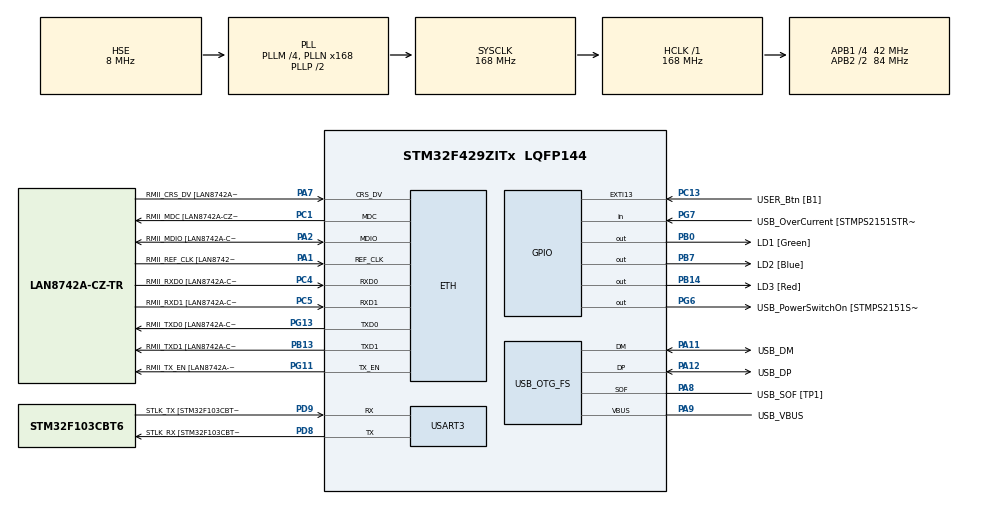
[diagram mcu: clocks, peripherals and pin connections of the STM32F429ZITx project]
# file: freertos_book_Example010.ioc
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ETH.MediaInterface=HAL_ETH_RMII_MODE
ETH.PHY_Name=LAN8742A_PHY_ADDRESS
ETH.PHY_Value=0
ETH.PhyAddress=0
FREERTOS.MEMORY_ALLOCATION=0
FREERTOS.Tasks01=defaultTask,0,128,StartDefaultTask,Default,NULL,Dynamic,NULL,NULL
FREERTOS.configUSE_NEWLIB_REENTRANT=1
Mcu.Family=STM32F4
Mcu.Name=STM32F429ZITx
Mcu.Package=LQFP144
NVIC.PriorityGroup=NVIC_PRIORITYGROUP_4
NVIC.TIM7_IRQn=true\:15\:0\:false\:false\:true\:false\:false\:true\:true
NVIC.TimeBase=TIM7_IRQn
NVIC.TimeBaseIP=TIM7
PA1.GPIO_Label=RMII_REF_CLK [LAN8742A-CZ-TR_REFCLK0]
PA1.Mode=RMII
PA1.Signal=ETH_REF_CLK
PA10.GPIO_Label=USB_ID
PA10.Signal=USB_OTG_FS_ID
PA11.GPIO_Label=USB_DM
PA11.Mode=Device_Only
PA11.Signal=USB_OTG_FS_DM
PA12.GPIO_Label=USB_DP
PA12.Mode=Device_Only
PA12.Signal=USB_OTG_FS_DP
PA13.GPIO_Label=TMS
PA13.Mode=Serial_Wire
PA13.Signal=SYS_JTMS-SWDIO
PA14.GPIO_Label=TCK
PA14.Mode=Serial_Wire
PA14.Signal=SYS_JTCK-SWCLK
PA2.GPIO_Label=RMII_MDIO [LAN8742A-CZ-TR_MDIO]
PA2.Mode=RMII
PA2.Signal=ETH_MDIO
PA7.GPIO_Label=RMII_CRS_DV [LAN8742A-CZ-TR_CRS_DV]
PA7.Mode=RMII
PA7.Signal=ETH_CRS_DV
PA8.GPIO_Label=USB_SOF [TP1]
PA8.Mode=Activate_SOF_FS
PA8.Signal=USB_OTG_FS_SOF
PA9.GPIO_Label=USB_VBUS
PA9.Mode=Activate_VBUS
PA9.Signal=USB_OTG_FS_VBUS
PB0.GPIO_Label=LD1 [Green]
PB0.Signal=GPIO_Output
PB13.GPIO_Label=RMII_TXD1 [LAN8742A-CZ-TR_TXD1]
PB13.Mode=RMII
PB13.Signal=ETH_TXD1
PB14.GPIO_Label=LD3 [Red]
PB14.Signal=GPIO_Output
PB7.GPIO_Label=LD2 [Blue]
PB7.Signal=GPIO_Output
PC1.GPIO_Label=RMII_MDC [LAN8742A-CZ-TR_MDC]
PC1.Mode=RMII
PC1.Signal=ETH_MDC
PC13.GPIO_Label=USER_Btn [B1]
PC13.Signal=GPXTI13
PC14/OSC32_IN.Mode=LSE-External-Oscillator
PC14/OSC32_IN.Signal=RCC_OSC32_IN
PC15/OSC32_OUT.Mode=LSE-External-Oscillator
PC15/OSC32_OUT.Signal=RCC_OSC32_OUT
PC4.GPIO_Label=RMII_RXD0 [LAN8742A-CZ-TR_RXD0]
PC4.Mode=RMII
PC4.Signal=ETH_RXD0
PC5.GPIO_Label=RMII_RXD1 [LAN8742A-CZ-TR_RXD1]
PC5.Mode=RMII
PC5.Signal=ETH_RXD1
PD8.GPIO_Label=STLK_RX [STM32F103CBT6_PA3]
PD8.Mode=Asynchronous
PD8.Signal=USART3_TX
PD9.GPIO_Label=STLK_TX [STM32F103CBT6_PA2]
PD9.Mode=Asynchronous
PD9.Signal=USART3_RX
PG11.GPIO_Label=RMII_TX_EN [LAN8742A-CZ-TR_TXEN]
PG11.Mode=RMII
PG11.Signal=ETH_TX_EN
PG13.GPIO_Label=RMII_TXD0 [LAN8742A-CZ-TR_TXD0]
PG13.Mode=RMII
PG13.Signal=ETH_TXD0
PG6.GPIO_Label=USB_PowerSwitchOn [STMPS2151STR_EN]
PG6.Signal=GPIO_Output
PG7.GPIO_Label=USB_OverCurrent [STMPS2151STR_FAULT]
PG7.Signal=GPIO_Input
PH0/OSC_IN.GPIO_Label=MCO [STM32F103CBT6_PA8]
PH0/OSC_IN.Mode=HSE-External-Clock-Source
PH0/OSC_IN.Signal=RCC_OSC_IN
PH1/OSC_OUT.Mode=HSE-External-Clock-Source
PH1/OSC_OUT.Signal=RCC_OSC_OUT
ProjectManager.HeapSize=0x200
ProjectManager.StackSize=0x400
ProjectManager.TargetToolchain=STM32CubeIDE
RCC.48MHZClocksFreq_Value=48000000
RCC.AHBFreq_Value=168000000
RCC.APB1CLKDivider=RCC_HCLK_DIV4
RCC.APB1Freq_Value=42000000
RCC.APB1TimFreq_Value=84000000
RCC.APB2CLKDivider=RCC_HCLK_DIV2
RCC.APB2Freq_Value=84000000
RCC.APB2TimCLKDivider=2
RCC.APB2TimFreq_Value=168000000
RCC.CortexFreq_Value=168000000
RCC.HCLKFreq_Value=168000000
RCC.HSE_VALUE=8000000
RCC.HSI_VALUE=16000000
RCC.PLLM=4
RCC.PLLMUL=RCC_PLL_MUL9
RCC.PLLN=168
RCC.PLLQ=7
RCC.PRESCALERUSB=RCC_USBCLKSOURCE_PLL_DIV1_5
RCC.SYSCLKFreq_VALUE=168000000
RCC.SYSCLKSource=RCC_SYSCLKSOURCE_PLLCLK
RCC.SYSCLKSourceVirtual=RCC_SYSCLKSOURCE_PLLCLK
RCC.USBFreq_Value=48000000
RCC.VCOOutputFreq_Value=336000000
USART3.VirtualMode=VM_ASYNC
USB_OTG_FS.VirtualMode=Device_Only
VP_FREERTOS_VS_CMSIS_V1.Mode=CMSIS_V1
VP_SYS_VS_tim7.Mode=TIM7
board=NUCLEO-F429ZI

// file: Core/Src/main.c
/* USER CODE BEGIN Header */
/**
  ******************************************************************************
  * @file           : main.c
  * @brief          : Main program body
  ******************************************************************************
  * @attention
  *
  * Copyright (c) 2022 STMicroelectronics.
  * All rights reserved.
  *
  * This software is licensed under terms that can be found in the LICENSE file
  * in the root directory of this software component.
  * If no LICENSE file comes with this software, it is provided AS-IS.
  *
  ******************************************************************************
  */
/* USER CODE END Header */
#include "main.h"
#include "string.h"
#include "cmsis_os.h"

/* USER CODE BEGIN Includes */
/* Standard includes. */
#include <stdio.h>
#include <stdlib.h>

/* Demo includes. */
#include "supportingFunctions.h"

/* USER CODE END Includes */

ETH_TxPacketConfig TxConfig;
ETH_DMADescTypeDef  DMARxDscrTab[ETH_RX_DESC_CNT]; /* Ethernet Rx DMA Descriptors */
ETH_DMADescTypeDef  DMATxDscrTab[ETH_TX_DESC_CNT]; /* Ethernet Tx DMA Descriptors */

ETH_HandleTypeDef heth;

UART_HandleTypeDef huart3;

PCD_HandleTypeDef hpcd_USB_OTG_FS;

osThreadId defaultTaskHandle;
/* USER CODE BEGIN PV */
QueueHandle_t QueueHandle;

/* USER CODE END PV */

void SystemClock_Config(void);
static void MX_GPIO_Init(void);
static void MX_ETH_Init(void);
static void MX_USART3_UART_Init(void);
static void MX_USB_OTG_FS_PCD_Init(void);
void StartDefaultTask(void const * argument);

/* USER CODE BEGIN PFP */
void vSenderTask(void *pvParameters);
void vReceiverTask(void *pvParameters);

/* USER CODE END PFP */

int main(void)
{
  /* USER CODE BEGIN 1 */
	const char *pcTextForMain = "freertos_book_Example010 is running: Blocking when receiving from a queue\r\n\n";

  /* USER CODE END 1 */

  /* MCU Configuration--------------------------------------------------------*/

  /* Reset of all peripherals, Initializes the Flash interface and the Systick. */
  HAL_Init();

  /* Configure the system clock */
  SystemClock_Config();

  /* Initialize all configured peripherals */
  MX_GPIO_Init();
  MX_ETH_Init();
  MX_USART3_UART_Init();
  MX_USB_OTG_FS_PCD_Init();
  /* USER CODE BEGIN 2 */
	/* Print out the name of this Example. */
	vPrintString( pcTextForMain );

  /* USER CODE END 2 */

  /* USER CODE BEGIN RTOS_QUEUES */
  /* add queues, ... */
    /* The queue is created to hold a maximum of 5 long values. */
    QueueHandle = xQueueCreate( 5, sizeof( int32_t ) );

    /* Check the queues was created successfully */
    configASSERT( QueueHandle != NULL );

  /* USER CODE END RTOS_QUEUES */

  /* Create the thread(s) */
  /* definition and creation of defaultTask */
  osThreadDef(defaultTask, StartDefaultTask, osPriorityNormal, 0, 128);
  defaultTaskHandle = osThreadCreate(osThread(defaultTask), NULL);

  /* USER CODE BEGIN RTOS_THREADS */
  /* add threads, ... */
	BaseType_t ret;

	/* Sender 1 thread at priority 1 */
	ret = xTaskCreate( vSenderTask,					/* Pointer to the function thats implement the task. */
					   "Sender 1",					/* Text name for the task. This is to facilitate debugging only. */
					   (4 * configMINIMAL_STACK_SIZE),	/* Stack depth in words. 				*/
					   ( void * ) 100,				/* Pass the value to be used in as the task parameter.	*/
					   (tskIDLE_PRIORITY + 1UL),	/* This task will run at priority 1. 		*/
		               NULL );          	        /* We are not using the task handle. */

	/* Check the task was created successfully. */
	configASSERT( ret == pdPASS );

	/* Sender 2 thread at priority 1 */
	ret = xTaskCreate( vSenderTask,					/* Pointer to the function thats implement the task. */
					   "Sender 2",					/* Text name for the task. This is to facilitate debugging only. */
					   (4 * configMINIMAL_STACK_SIZE),	/* Stack depth in words. 				*/
					   ( void * ) 200,				/* Pass the value to be used in as the task parameter.	*/
					   (tskIDLE_PRIORITY + 1UL),	/* This task will run at priority 1. 		*/
		               NULL );          	        /* We are not using the task handle. */

	/* Check the task was created successfully. */
	configASSERT( ret == pdPASS );

	/* Receiver thread at priority 2 */
	ret = xTaskCreate( vReceiverTask,				/* Pointer to the function thats implement the task. */
					   "Receiver",					/* Text name for the task. This is to facilitate debugging only. */
					   (4 * configMINIMAL_STACK_SIZE),	/* Stack depth in words. 				*/
					   NULL,						/* We are not using the task parameter.		*/
					   (tskIDLE_PRIORITY + 2UL),	/* This task will run at priority 2. 		*/
		               NULL );          	        /* We are not using the task handle. */

	/* Check the task was created successfully. */
	configASSERT( ret == pdPASS );

  /* USER CODE END RTOS_THREADS */

  /* Start scheduler */
  osKernelStart();

  /* We should never get here as control is now taken by the scheduler */
  /* Infinite loop */
  while (1)
  {

  }
}

void SystemClock_Config(void)
{
  RCC_OscInitTypeDef RCC_OscInitStruct = {0};
  RCC_ClkInitTypeDef RCC_ClkInitStruct = {0};

  /** Configure the main internal regulator output voltage
  */
  __HAL_RCC_PWR_CLK_ENABLE();
  __HAL_PWR_VOLTAGESCALING_CONFIG(PWR_REGULATOR_VOLTAGE_SCALE1);

  /** Initializes the RCC Oscillators according to the specified parameters
  * in the RCC_OscInitTypeDef structure.
  */
  RCC_OscInitStruct.OscillatorType = RCC_OSCILLATORTYPE_HSE;
  RCC_OscInitStruct.HSEState = RCC_HSE_BYPASS;
  RCC_OscInitStruct.PLL.PLLState = RCC_PLL_ON;
  RCC_OscInitStruct.PLL.PLLSource = RCC_PLLSOURCE_HSE;
  RCC_OscInitStruct.PLL.PLLM = 4;
  RCC_OscInitStruct.PLL.PLLN = 168;
  RCC_OscInitStruct.PLL.PLLP = RCC_PLLP_DIV2;
  RCC_OscInitStruct.PLL.PLLQ = 7;
  if (HAL_RCC_OscConfig(&RCC_OscInitStruct) != HAL_OK)
  {
    Error_Handler();
  }

  /** Initializes the CPU, AHB and APB buses clocks
  */
  RCC_ClkInitStruct.ClockType = RCC_CLOCKTYPE_HCLK|RCC_CLOCKTYPE_SYSCLK
                              |RCC_CLOCKTYPE_PCLK1|RCC_CLOCKTYPE_PCLK2;
  RCC_ClkInitStruct.SYSCLKSource = RCC_SYSCLKSOURCE_PLLCLK;
  RCC_ClkInitStruct.AHBCLKDivider = RCC_SYSCLK_DIV1;
  RCC_ClkInitStruct.APB1CLKDivider = RCC_HCLK_DIV4;
  RCC_ClkInitStruct.APB2CLKDivider = RCC_HCLK_DIV2;

  if (HAL_RCC_ClockConfig(&RCC_ClkInitStruct, FLASH_LATENCY_5) != HAL_OK)
  {
    Error_Handler();
  }
}

static void MX_ETH_Init(void)
{

   static uint8_t MACAddr[6];

  heth.Instance = ETH;
  MACAddr[0] = 0x00;
  MACAddr[1] = 0x80;
  MACAddr[2] = 0xE1;
  MACAddr[3] = 0x00;
  MACAddr[4] = 0x00;
  MACAddr[5] = 0x00;
  heth.Init.MACAddr = &MACAddr[0];
  heth.Init.MediaInterface = HAL_ETH_RMII_MODE;
  heth.Init.TxDesc = DMATxDscrTab;
  heth.Init.RxDesc = DMARxDscrTab;
  heth.Init.RxBuffLen = 1524;

  if (HAL_ETH_Init(&heth) != HAL_OK)
  {
    Error_Handler();
  }

  memset(&TxConfig, 0 , sizeof(ETH_TxPacketConfig));
  TxConfig.Attributes = ETH_TX_PACKETS_FEATURES_CSUM | ETH_TX_PACKETS_FEATURES_CRCPAD;
  TxConfig.ChecksumCtrl = ETH_CHECKSUM_IPHDR_PAYLOAD_INSERT_PHDR_CALC;
  TxConfig.CRCPadCtrl = ETH_CRC_PAD_INSERT;

}

static void MX_USART3_UART_Init(void)
{

  huart3.Instance = USART3;
  huart3.Init.BaudRate = 115200;
  huart3.Init.WordLength = UART_WORDLENGTH_8B;
  huart3.Init.StopBits = UART_STOPBITS_1;
  huart3.Init.Parity = UART_PARITY_NONE;
  huart3.Init.Mode = UART_MODE_TX_RX;
  huart3.Init.HwFlowCtl = UART_HWCONTROL_NONE;
  huart3.Init.OverSampling = UART_OVERSAMPLING_16;
  if (HAL_UART_Init(&huart3) != HAL_OK)
  {
    Error_Handler();
  }

}

static void MX_USB_OTG_FS_PCD_Init(void)
{

  hpcd_USB_OTG_FS.Instance = USB_OTG_FS;
  hpcd_USB_OTG_FS.Init.dev_endpoints = 4;
  hpcd_USB_OTG_FS.Init.speed = PCD_SPEED_FULL;
  hpcd_USB_OTG_FS.Init.dma_enable = DISABLE;
  hpcd_USB_OTG_FS.Init.phy_itface = PCD_PHY_EMBEDDED;
  hpcd_USB_OTG_FS.Init.Sof_enable = ENABLE;
  hpcd_USB_OTG_FS.Init.low_power_enable = DISABLE;
  hpcd_USB_OTG_FS.Init.lpm_enable = DISABLE;
  hpcd_USB_OTG_FS.Init.vbus_sensing_enable = ENABLE;
  hpcd_USB_OTG_FS.Init.use_dedicated_ep1 = DISABLE;
  if (HAL_PCD_Init(&hpcd_USB_OTG_FS) != HAL_OK)
  {
    Error_Handler();
  }

}

static void MX_GPIO_Init(void)
{
  GPIO_InitTypeDef GPIO_InitStruct = {0};

  /* GPIO Ports Clock Enable */
  __HAL_RCC_GPIOC_CLK_ENABLE();
  __HAL_RCC_GPIOH_CLK_ENABLE();
  __HAL_RCC_GPIOA_CLK_ENABLE();
  __HAL_RCC_GPIOB_CLK_ENABLE();
  __HAL_RCC_GPIOD_CLK_ENABLE();
  __HAL_RCC_GPIOG_CLK_ENABLE();

  /*Configure GPIO pin Output Level */
  HAL_GPIO_WritePin(GPIOB, LD1_Pin|LD3_Pin|LD2_Pin, GPIO_PIN_RESET);

  /*Configure GPIO pin Output Level */
  HAL_GPIO_WritePin(USB_PowerSwitchOn_GPIO_Port, USB_PowerSwitchOn_Pin, GPIO_PIN_RESET);

  /*Configure GPIO pin : USER_Btn_Pin */
  GPIO_InitStruct.Pin = USER_Btn_Pin;
  GPIO_InitStruct.Mode = GPIO_MODE_IT_RISING;
  GPIO_InitStruct.Pull = GPIO_NOPULL;
  HAL_GPIO_Init(USER_Btn_GPIO_Port, &GPIO_InitStruct);

  /*Configure GPIO pins : LD1_Pin LD3_Pin LD2_Pin */
  GPIO_InitStruct.Pin = LD1_Pin|LD3_Pin|LD2_Pin;
  GPIO_InitStruct.Mode = GPIO_MODE_OUTPUT_PP;
  GPIO_InitStruct.Pull = GPIO_NOPULL;
  GPIO_InitStruct.Speed = GPIO_SPEED_FREQ_LOW;
  HAL_GPIO_Init(GPIOB, &GPIO_InitStruct);

  /*Configure GPIO pin : USB_PowerSwitchOn_Pin */
  GPIO_InitStruct.Pin = USB_PowerSwitchOn_Pin;
  GPIO_InitStruct.Mode = GPIO_MODE_OUTPUT_PP;
  GPIO_InitStruct.Pull = GPIO_NOPULL;
  GPIO_InitStruct.Speed = GPIO_SPEED_FREQ_LOW;
  HAL_GPIO_Init(USB_PowerSwitchOn_GPIO_Port, &GPIO_InitStruct);

  /*Configure GPIO pin : USB_OverCurrent_Pin */
  GPIO_InitStruct.Pin = USB_OverCurrent_Pin;
  GPIO_InitStruct.Mode = GPIO_MODE_INPUT;
  GPIO_InitStruct.Pull = GPIO_NOPULL;
  HAL_GPIO_Init(USB_OverCurrent_GPIO_Port, &GPIO_InitStruct);

}

/* USER CODE BEGIN 4 */

/* USER CODE BEGIN Header_vSenderTask */
/**
  * @brief  Function implementing the Sender1 thread.
  * @param  argument: Not used
  * @retval None
  */
/* USER CODE END Header_vSenderTask */
void vSenderTask( void *pvParameters )
{
	int32_t lValueToSend;
	BaseType_t xStatus;

		/* Two instances are created of this task so the value that is sent to the
		queue is passed in via the task parameter rather than be hard coded.  This way
		each instance can use a different value.  Cast the parameter to the required
		type. */
		lValueToSend = ( int32_t ) pvParameters;

		/* Print out the name of this task. */
		vPrintString( "Task Sender is running\r\n" );

		/* As per most tasks, this task is implemented within an infinite loop. */
		for( ;; )
		{
			/* The first parameter is the queue to which data is being sent.  The
			queue was created before the scheduler was started, so before this task
			started to execute.

			The second parameter is the address of the data to be sent.

			The third parameter is the Block time – the time the task should be kept
			in the Blocked state to wait for space to become available on the queue
			should the queue already be full.  In this case we don’t specify a block
			time because there should always be space in the queue. */
			xStatus = xQueueSendToBack( QueueHandle, &lValueToSend, 0 );

			if( xStatus != pdPASS )
			{
				/* We could not write to the queue because it was full – this must
				be an error as the queue should never contain more than one item! */
				vPrintString( "Could not send to the queue.\r\n" );
			}
		}
}

/* USER CODE BEGIN Header_vReceiverTask */
/**
* @brief Function implementing the Receiver thread.
* @param argument: Not used
* @retval None
*/
/* USER CODE END Header_vReceiverTask */
void vReceiverTask( void *pvParameters )
{
	/* Declare the variable that will hold the values received from the queue. */
	int32_t lReceivedValue;
	BaseType_t xStatus;
	const TickType_t xTicksToWait = pdMS_TO_TICKS( 100UL );

	/* Print out the name of this task. */
	vPrintString( "Task Receiver is running\r\n" );

	/* This task is also defined within an infinite loop. */
	for( ;; )
	{
		/* As this task unblocks immediately that data is written to the queue this
		   call should always find the queue empty. */
		if( uxQueueMessagesWaiting( QueueHandle ) != 0 )
		{
			vPrintString( "Queue should have been empty!\r\n" );
		}

		/* The first parameter is the queue from which data is to be received.  The
		   queue is created before the scheduler is started, and therefore before this
		   task runs for the first time.

		   The second parameter is the buffer into which the received data will be
		   placed.  In this case the buffer is simply the address of a variable that
		   has the required size to hold the received data.

		   the last parameter is the block time – the maximum amount of time that the
		   task should remain in the Blocked state to wait for data to be available should
		   the queue already be empty. */
		xStatus = xQueueReceive( QueueHandle, &lReceivedValue, xTicksToWait );

		if( xStatus == pdPASS )
		{
			/* Data was successfully received from the queue, print out the received
			   value. */
			vPrintStringAndNumber( "Received = ", lReceivedValue );
		}
		else
		{
			/* We did not receive anything from the queue even after waiting for 100ms.
			   This must be an error as the sending tasks are free running and will be
			   continuously writing to the queue. */
			vPrintString( "Could not receive from the queue.\r\n" );
		}
	}
}

/* USER CODE END 4 */

void StartDefaultTask(void const * argument)
{
  /* USER CODE BEGIN 5 */
  /* Infinite loop */
  for(;;)
  {
    osDelay(50000);
  }
  /* USER CODE END 5 */
}

void HAL_TIM_PeriodElapsedCallback(TIM_HandleTypeDef *htim)
{
  if (htim->Instance == TIM7) {
    HAL_IncTick();
  }
}

void Error_Handler(void)
{
  __disable_irq();
  while (1)
  {
  }
}
